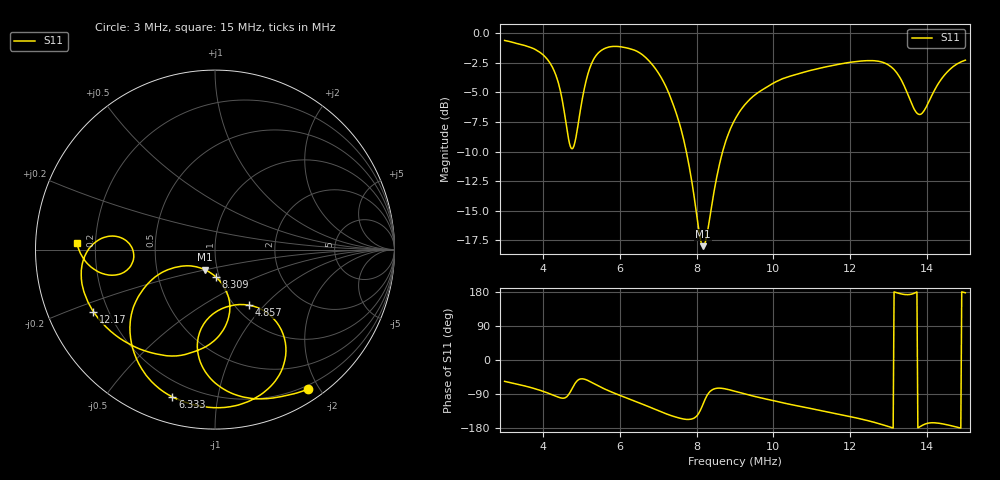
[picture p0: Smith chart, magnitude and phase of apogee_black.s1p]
# Hz S RI R 50
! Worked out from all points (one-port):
!   505 points, 3 MHz to 15 MHz, reference 50 ohm
!   lowest |S11| = -18.0 dB at 8.167 MHz (marker M1), VSWR 1.29, Z = 43.6 - j9.96 ohm
!   |S11| at or under -10 dB: 7.731 MHz to 8.678 MHz (947.1 kHz wide, 11.5 % of centre)
!   S11 on the Smith chart (normalised r, x): 3 MHz: 0.15, -1.86; 4.857 MHz: 1.15, -0.82; 6.333 MHz: 0.12, -0.74; 8.309 MHz: 0.97, -0.30; 12.17 MHz: 0.14, -0.24; 15 MHz: 0.13, +0.02
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3000000  0.5172 -0.7769
3976100  0.117 -0.8094
4261800  -0.0323 -0.7097
4523700  -0.0934 -0.4885
4714200  0.0373 -0.3294
4857100  0.1887 -0.3093
5047500  0.3564 -0.4238
5238000  0.3896 -0.614
5595109  0.2072 -0.8361
6023709  -0.0642 -0.8753
6333209  -0.2371 -0.8206
6952209  -0.4651 -0.5233
7523709  -0.3823 -0.1992
7857018  -0.225 -0.0998
8166518  -0.0564 -0.1124
8309318  0.00582 -0.1532
8642718  0.0808 -0.2894
9023618  0.0526 -0.4365
9690318  -0.1041 -0.5646
1.052363e7  -0.322 -0.5822
1.202353e7  -0.6525 -0.3802
1.216643e7  -0.6777 -0.3451
1.295214e7  -0.7383 -0.075
1.330924e7  -0.6415 0.0577
1.352354e7  -0.5358 0.0704
1.383304e7  -0.4524 -0.0411
1.421404e7  -0.5644 -0.1425
1.499974e7  -0.7692 0.0345
